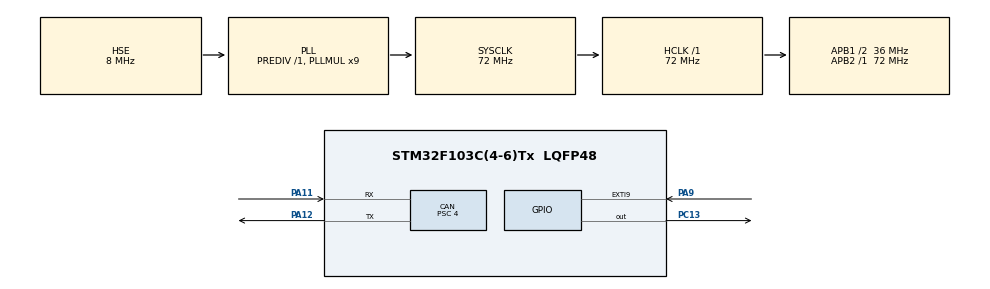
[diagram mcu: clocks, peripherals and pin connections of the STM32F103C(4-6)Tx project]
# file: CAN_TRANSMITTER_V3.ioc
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CAN.BS1=CAN_BS1_15TQ
CAN.BS2=CAN_BS2_2TQ
CAN.CalculateBaudRate=500000
CAN.CalculateTimeBit=2000
CAN.CalculateTimeQuantum=111.11111111111111
CAN.Prescaler=4
Mcu.Family=STM32F1
Mcu.Name=STM32F103C(4-6)Tx
Mcu.Package=LQFP48
NVIC.CAN1_RX1_IRQn=true\:0\:0\:false\:false\:true\:true\:true\:true
NVIC.EXTI9_5_IRQn=true\:0\:0\:false\:false\:true\:true\:true\:true
NVIC.PriorityGroup=NVIC_PRIORITYGROUP_4
NVIC.USB_LP_CAN1_RX0_IRQn=true\:0\:0\:false\:false\:true\:true\:true\:true
PA11.Mode=CAN_Activate
PA11.Signal=CAN_RX
PA12.Mode=CAN_Activate
PA12.Signal=CAN_TX
PA13.Mode=Serial_Wire
PA13.Signal=SYS_JTMS-SWDIO
PA14.Mode=Serial_Wire
PA14.Signal=SYS_JTCK-SWCLK
PA9.GPIO_ModeDefaultEXTI=GPIO_MODE_IT_FALLING
PA9.GPIO_PuPd=GPIO_PULLUP
PA9.Signal=GPXTI9
PC13-TAMPER-RTC.Signal=GPIO_Output
PD0-OSC_IN.Mode=HSE-External-Oscillator
PD0-OSC_IN.Signal=RCC_OSC_IN
PD1-OSC_OUT.Mode=HSE-External-Oscillator
PD1-OSC_OUT.Signal=RCC_OSC_OUT
ProjectManager.HeapSize=0x200
ProjectManager.StackSize=0x400
ProjectManager.TargetToolchain=STM32CubeIDE
RCC.AHBFreq_Value=72000000
RCC.APB1CLKDivider=RCC_HCLK_DIV2
RCC.APB1Freq_Value=36000000
RCC.APB1TimFreq_Value=72000000
RCC.APB2Freq_Value=72000000
RCC.APB2TimFreq_Value=72000000
RCC.HCLKFreq_Value=72000000
RCC.PLLMUL=RCC_PLL_MUL9
RCC.PLLSourceVirtual=RCC_PLLSOURCE_HSE
RCC.SYSCLKFreq_VALUE=72000000
RCC.SYSCLKSource=RCC_SYSCLKSOURCE_PLLCLK
RCC.USBFreq_Value=72000000
board=custom

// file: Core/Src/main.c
/* USER CODE BEGIN Header */
/* USER CODE END Header */
#include "main.h"

CAN_HandleTypeDef hcan;

/* USER CODE BEGIN PV */
CAN_TxHeaderTypeDef   TxHeader;
CAN_RxHeaderTypeDef   RxHeader;
uint8_t               TxData[8];
uint8_t               RxData[8];
uint32_t              TxMailbox;
/* USER CODE END PV */

void SystemClock_Config(void);
static void MX_GPIO_Init(void);
static void MX_CAN_Init(void);

/* USER CODE BEGIN 0 */
void HAL_GPIO_EXTI_Callback(uint16_t GPIO_Pin)
{

	if (GPIO_Pin == GPIO_PIN_9)
	{

		HAL_CAN_AddTxMessage(&hcan, &TxHeader, TxData, &TxMailbox);
		HAL_GPIO_TogglePin(GPIOC, GPIO_PIN_13);

	}
}
/* USER CODE END 0 */

int main(void)
{

	/* USER CODE BEGIN 1 */
	TxData[0] = 0xDE;
	TxData[1] = 0xAD;
	TxData[2] = 0xBE;
	TxData[3] = 0xEF;
	/* USER CODE END 1 */

	/* MCU Configuration--------------------------------------------------------*/

	/* Reset of all peripherals, Initializes the Flash interface and the Systick. */
	HAL_Init();

	/* Configure the system clock */
	SystemClock_Config();

	/* Initialize all configured peripherals */
	MX_GPIO_Init();
	MX_CAN_Init();
	/* USER CODE BEGIN 2 */

	CAN_FilterTypeDef  sFilterConfig;

	// 1. Configure the CAN Filter
	sFilterConfig.FilterBank = 0;
	sFilterConfig.FilterMode = CAN_FILTERMODE_IDMASK;
	sFilterConfig.FilterScale = CAN_FILTERSCALE_32BIT;
	sFilterConfig.FilterIdHigh = 0x0000;
	sFilterConfig.FilterIdLow = 0x0000;
	sFilterConfig.FilterMaskIdHigh = 0x0000;
	sFilterConfig.FilterMaskIdLow = 0x0000;
	sFilterConfig.FilterFIFOAssignment = CAN_RX_FIFO0;
	sFilterConfig.FilterActivation = ENABLE;
	sFilterConfig.SlaveStartFilterBank = 13;

	if (HAL_CAN_ConfigFilter(&hcan, &sFilterConfig) != HAL_OK)
	{
		/* Filter configuration Error */
		Error_Handler();
	}

	// 2. Start the CAN peripheral
	if (HAL_CAN_Start(&hcan) != HAL_OK)
	{
		/* Start Error */
		Error_Handler();
	}

	// 3. Activate CAN RX notification
	if (HAL_CAN_ActivateNotification(&hcan, CAN_IT_RX_FIFO0_MSG_PENDING) != HAL_OK)
	{
		/* Notification Error */
		Error_Handler();
	}

	TxHeader.StdId = 0x100;
	TxHeader.RTR = CAN_RTR_DATA; // Data frame
	TxHeader.IDE = CAN_ID_STD; // Standard ID
	TxHeader.DLC = 4; // 4 bytes of data
	TxHeader.TransmitGlobalTime = DISABLE;
	/* USER CODE END 2 */

	/* Infinite loop */
	/* USER CODE BEGIN WHILE */
	/* USER CODE BEGIN WHILE */
	while (1)
	{
		/* USER CODE END WHILE */

	}
}

void SystemClock_Config(void)
{
	RCC_OscInitTypeDef RCC_OscInitStruct = {0};
	RCC_ClkInitTypeDef RCC_ClkInitStruct = {0};

	/** Initializes the RCC Oscillators according to the specified parameters
	 * in the RCC_OscInitTypeDef structure.
	 */
	RCC_OscInitStruct.OscillatorType = RCC_OSCILLATORTYPE_HSE;
	RCC_OscInitStruct.HSEState = RCC_HSE_ON;
	RCC_OscInitStruct.HSEPredivValue = RCC_HSE_PREDIV_DIV1;
	RCC_OscInitStruct.HSIState = RCC_HSI_ON;
	RCC_OscInitStruct.PLL.PLLState = RCC_PLL_ON;
	RCC_OscInitStruct.PLL.PLLSource = RCC_PLLSOURCE_HSE;
	RCC_OscInitStruct.PLL.PLLMUL = RCC_PLL_MUL9;
	if (HAL_RCC_OscConfig(&RCC_OscInitStruct) != HAL_OK)
	{
		Error_Handler();
	}

	/** Initializes the CPU, AHB and APB buses clocks
	 */
	RCC_ClkInitStruct.ClockType = RCC_CLOCKTYPE_HCLK|RCC_CLOCKTYPE_SYSCLK
			|RCC_CLOCKTYPE_PCLK1|RCC_CLOCKTYPE_PCLK2;
	RCC_ClkInitStruct.SYSCLKSource = RCC_SYSCLKSOURCE_PLLCLK;
	RCC_ClkInitStruct.AHBCLKDivider = RCC_SYSCLK_DIV1;
	RCC_ClkInitStruct.APB1CLKDivider = RCC_HCLK_DIV2;
	RCC_ClkInitStruct.APB2CLKDivider = RCC_HCLK_DIV1;

	if (HAL_RCC_ClockConfig(&RCC_ClkInitStruct, FLASH_LATENCY_2) != HAL_OK)
	{
		Error_Handler();
	}
}

static void MX_CAN_Init(void)
{

	hcan.Instance = CAN1;
	hcan.Init.Prescaler = 4;
	hcan.Init.Mode = CAN_MODE_NORMAL;
	hcan.Init.SyncJumpWidth = CAN_SJW_1TQ;
	hcan.Init.TimeSeg1 = CAN_BS1_15TQ;
	hcan.Init.TimeSeg2 = CAN_BS2_2TQ;
	hcan.Init.TimeTriggeredMode = DISABLE;
	hcan.Init.AutoBusOff = DISABLE;
	hcan.Init.AutoWakeUp = DISABLE;
	hcan.Init.AutoRetransmission = DISABLE;
	hcan.Init.ReceiveFifoLocked = DISABLE;
	hcan.Init.TransmitFifoPriority = DISABLE;
	if (HAL_CAN_Init(&hcan) != HAL_OK)
	{
		Error_Handler();
	}

}

static void MX_GPIO_Init(void)
{
	GPIO_InitTypeDef GPIO_InitStruct = {0};

	/* GPIO Ports Clock Enable */
	__HAL_RCC_GPIOC_CLK_ENABLE();
	__HAL_RCC_GPIOD_CLK_ENABLE();
	__HAL_RCC_GPIOA_CLK_ENABLE();

	/*Configure GPIO pin Output Level */
	HAL_GPIO_WritePin(GPIOC, GPIO_PIN_13, GPIO_PIN_RESET);

	/*Configure GPIO pin : PC13 */
	GPIO_InitStruct.Pin = GPIO_PIN_13;
	GPIO_InitStruct.Mode = GPIO_MODE_OUTPUT_PP;
	GPIO_InitStruct.Pull = GPIO_NOPULL;
	GPIO_InitStruct.Speed = GPIO_SPEED_FREQ_LOW;
	HAL_GPIO_Init(GPIOC, &GPIO_InitStruct);

	/*Configure GPIO pin : PA9 */
	GPIO_InitStruct.Pin = GPIO_PIN_9;
	GPIO_InitStruct.Mode = GPIO_MODE_IT_FALLING;
	GPIO_InitStruct.Pull = GPIO_PULLUP;
	HAL_GPIO_Init(GPIOA, &GPIO_InitStruct);

	/* EXTI interrupt init*/
	HAL_NVIC_SetPriority(EXTI9_5_IRQn, 0, 0);
	HAL_NVIC_EnableIRQ(EXTI9_5_IRQn);

}

void Error_Handler(void)
{
}
